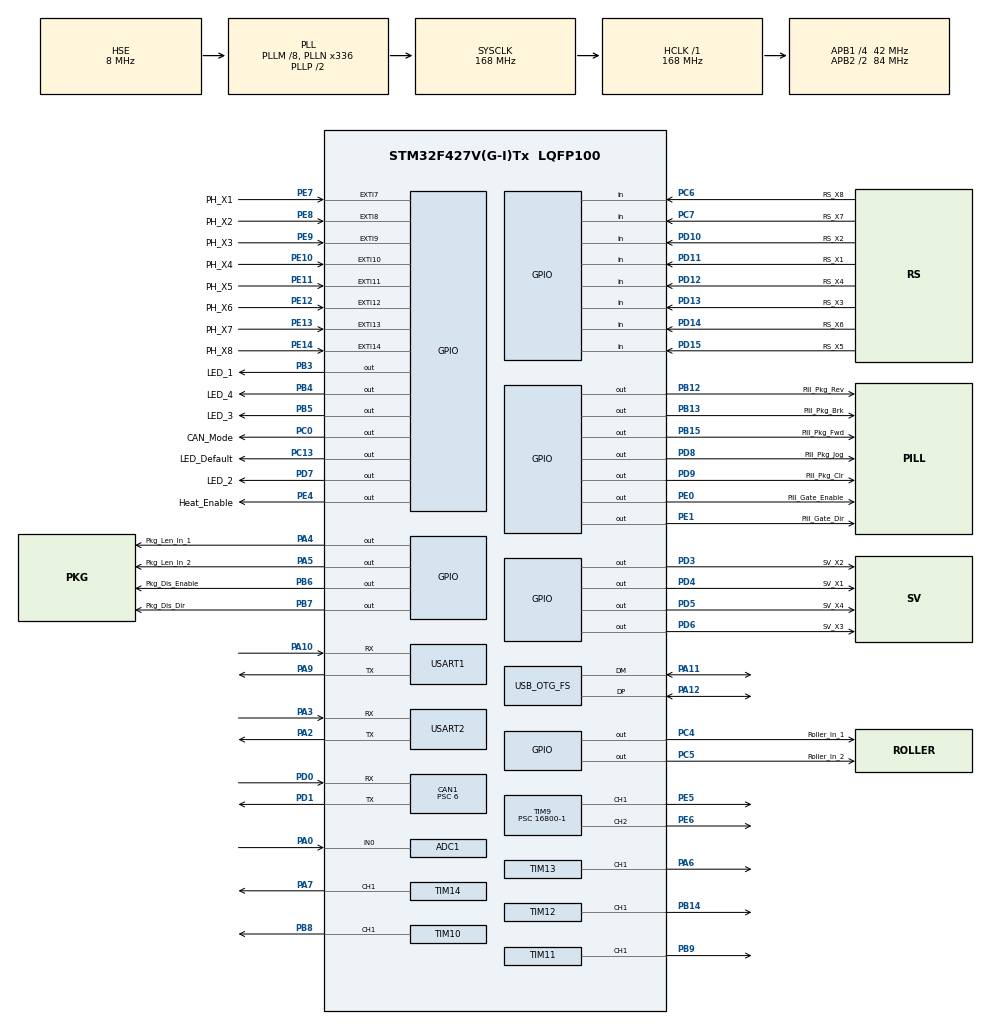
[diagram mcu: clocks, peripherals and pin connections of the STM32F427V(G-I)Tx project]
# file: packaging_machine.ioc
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ADC1.Channel-0\#ChannelRegularConversion=ADC_CHANNEL_0
ADC1.ClockPrescaler=ADC_CLOCK_SYNC_PCLK_DIV8
ADC1.ContinuousConvMode=ENABLE
ADC1.DMAContinuousRequests=ENABLE
ADC1.InjNumberOfConversion=0
ADC1.NbrOfConversionFlag=1
ADC1.Rank-0\#ChannelRegularConversion=1
ADC1.SamplingTime-0\#ChannelRegularConversion=ADC_SAMPLETIME_480CYCLES
ADC1.master=1
CAN1.BS1=CAN_BS1_11TQ
CAN1.BS2=CAN_BS2_2TQ
CAN1.CalculateBaudRate=500000
CAN1.CalculateTimeBit=2000
CAN1.CalculateTimeQuantum=142.85714285714286
CAN1.NART=ENABLE
CAN1.Prescaler=6
CAN1.TXFP=ENABLE
Dma.ADC1.0.Direction=DMA_PERIPH_TO_MEMORY
Dma.ADC1.0.FIFOMode=DMA_FIFOMODE_DISABLE
Dma.ADC1.0.Instance=DMA2_Stream0
Dma.ADC1.0.MemDataAlignment=DMA_MDATAALIGN_HALFWORD
Dma.ADC1.0.MemInc=DMA_MINC_ENABLE
Dma.ADC1.0.Mode=DMA_CIRCULAR
Dma.ADC1.0.PeriphDataAlignment=DMA_PDATAALIGN_HALFWORD
Dma.ADC1.0.PeriphInc=DMA_PINC_DISABLE
Dma.ADC1.0.Priority=DMA_PRIORITY_LOW
Dma.Request0=ADC1
IWDG.Prescaler=IWDG_PRESCALER_16
IWDG.Reload=2000-1
Mcu.Family=STM32F4
Mcu.Name=STM32F427V(G-I)Tx
Mcu.Package=LQFP100
NVIC.CAN1_RX0_IRQn=true\:0\:0\:false\:false\:true\:true\:true\:true
NVIC.CAN1_RX1_IRQn=true\:0\:0\:false\:false\:true\:true\:true\:true
NVIC.CAN1_TX_IRQn=true\:0\:0\:false\:false\:true\:true\:true\:true
NVIC.DMA2_Stream0_IRQn=true\:0\:0\:false\:false\:true\:false\:true\:true
NVIC.EXTI15_10_IRQn=true\:0\:0\:false\:false\:true\:true\:true\:true
NVIC.EXTI9_5_IRQn=true\:0\:0\:false\:false\:true\:true\:true\:true
NVIC.PriorityGroup=NVIC_PRIORITYGROUP_4
NVIC.TIM1_BRK_TIM9_IRQn=true\:0\:0\:false\:false\:true\:true\:true\:true
NVIC.TIM1_TRG_COM_TIM11_IRQn=true\:0\:0\:false\:false\:true\:true\:true\:true
NVIC.TIM1_UP_TIM10_IRQn=true\:0\:0\:false\:false\:true\:true\:true\:true
NVIC.TIM2_IRQn=true\:0\:0\:false\:false\:true\:true\:true\:true
NVIC.TIM4_IRQn=true\:0\:0\:false\:false\:true\:true\:true\:true
NVIC.TIM5_IRQn=true\:0\:0\:false\:false\:true\:true\:true\:true
NVIC.TIM7_IRQn=true\:0\:0\:false\:false\:true\:true\:true\:true
NVIC.TIM8_BRK_TIM12_IRQn=true\:0\:0\:false\:false\:true\:true\:true\:true
NVIC.TIM8_TRG_COM_TIM14_IRQn=true\:0\:0\:false\:false\:true\:true\:true\:true
NVIC.TIM8_UP_TIM13_IRQn=true\:0\:0\:false\:false\:true\:true\:true\:true
PA0/WKUP.Signal=ADCx_IN0
PA10.Mode=Asynchronous
PA10.Signal=USART1_RX
PA11.Mode=Host_Only
PA11.Signal=USB_OTG_FS_DM
PA12.Mode=Host_Only
PA12.Signal=USB_OTG_FS_DP
PA2.Mode=Asynchronous
PA2.Signal=USART2_TX
PA3.Mode=Asynchronous
PA3.Signal=USART2_RX
PA4.GPIO_Label=Pkg_Len_In_1
PA4.PinState=GPIO_PIN_SET
PA4.Signal=GPIO_Output
PA5.GPIO_Label=Pkg_Len_In_2
PA5.Signal=GPIO_Output
PA6.Signal=S_TIM13_CH1
PA7.Signal=S_TIM14_CH1
PA9.Mode=Asynchronous
PA9.Signal=USART1_TX
PB12.GPIO_Label=Pill_Pkg_Rev
PB12.Signal=GPIO_Output
PB13.GPIO_Label=Pill_Pkg_Brk
PB13.Signal=GPIO_Output
PB14.Signal=S_TIM12_CH1
PB15.GPIO_Label=Pill_Pkg_Fwd
PB15.Signal=GPIO_Output
PB3.GPIO_Label=LED_1
PB3.PinState=GPIO_PIN_SET
PB3.Signal=GPIO_Output
PB4.GPIO_Label=LED_4
PB4.PinState=GPIO_PIN_SET
PB4.Signal=GPIO_Output
PB5.GPIO_Label=LED_3
PB5.PinState=GPIO_PIN_SET
PB5.Signal=GPIO_Output
PB6.GPIO_Label=Pkg_Dis_Enable
PB6.PinState=GPIO_PIN_RESET
PB6.Signal=GPIO_Output
PB7.GPIO_Label=Pkg_Dis_Dir
PB7.PinState=GPIO_PIN_SET
PB7.Signal=GPIO_Output
PB8.Signal=S_TIM10_CH1
PB9.Signal=S_TIM11_CH1
PC0.GPIO_Label=CAN_Mode
PC0.Signal=GPIO_Output
PC13.GPIO_Label=LED_Default
PC13.Signal=GPIO_Output
PC14/OSC32_IN.Mode=LSE-External-Oscillator
PC14/OSC32_IN.Signal=RCC_OSC32_IN
PC15/OSC32_OUT.Mode=LSE-External-Oscillator
PC15/OSC32_OUT.Signal=RCC_OSC32_OUT
PC4.GPIO_Label=Roller_In_1
PC4.PinState=GPIO_PIN_SET
PC4.Signal=GPIO_Output
PC5.GPIO_Label=Roller_In_2
PC5.Signal=GPIO_Output
PC6.GPIO_Label=RS_X8
PC6.GPIO_PuPd=GPIO_PULLUP
PC6.Signal=GPIO_Input
PC7.GPIO_Label=RS_X7
PC7.GPIO_PuPd=GPIO_PULLUP
PC7.Signal=GPIO_Input
PD0.Mode=CAN_Activate
PD0.Signal=CAN1_RX
PD1.Mode=CAN_Activate
PD1.Signal=CAN1_TX
PD10.GPIO_Label=RS_X2
PD10.GPIO_PuPd=GPIO_PULLUP
PD10.Signal=GPIO_Input
PD11.GPIO_Label=RS_X1
PD11.GPIO_PuPd=GPIO_PULLUP
PD11.Signal=GPIO_Input
PD12.GPIO_Label=RS_X4
PD12.GPIO_PuPd=GPIO_PULLUP
PD12.Signal=GPIO_Input
PD13.GPIO_Label=RS_X3
PD13.GPIO_PuPd=GPIO_PULLUP
PD13.Signal=GPIO_Input
PD14.GPIO_Label=RS_X6
PD14.GPIO_PuPd=GPIO_PULLUP
PD14.Signal=GPIO_Input
PD15.GPIO_Label=RS_X5
PD15.GPIO_PuPd=GPIO_PULLUP
PD15.Signal=GPIO_Input
PD3.GPIO_Label=SV_X2
PD3.PinState=GPIO_PIN_SET
PD3.Signal=GPIO_Output
PD4.GPIO_Label=SV_X1
PD4.PinState=GPIO_PIN_SET
PD4.Signal=GPIO_Output
PD5.GPIO_Label=SV_X4
PD5.PinState=GPIO_PIN_SET
PD5.Signal=GPIO_Output
PD6.GPIO_Label=SV_X3
PD6.PinState=GPIO_PIN_SET
PD6.Signal=GPIO_Output
PD7.GPIO_Label=LED_2
PD7.PinState=GPIO_PIN_SET
PD7.Signal=GPIO_Output
PD8.GPIO_Label=Pill_Pkg_Jog
PD8.Signal=GPIO_Output
PD9.GPIO_Label=Pill_Pkg_Clr
PD9.Signal=GPIO_Output
PE0.GPIO_Label=Pill_Gate_Enable
PE0.PinState=GPIO_PIN_RESET
PE0.Signal=GPIO_Output
PE1.GPIO_Label=Pill_Gate_Dir
PE1.PinState=GPIO_PIN_SET
PE1.Signal=GPIO_Output
PE10.GPIO_Label=PH_X4
PE10.GPIO_ModeDefaultEXTI=GPIO_MODE_IT_FALLING
PE10.GPIO_PuPd=GPIO_PULLUP
PE10.Signal=GPXTI10
PE11.GPIO_Label=PH_X5
PE11.GPIO_ModeDefaultEXTI=GPIO_MODE_IT_FALLING
PE11.GPIO_PuPd=GPIO_PULLUP
PE11.Signal=GPXTI11
PE12.GPIO_Label=PH_X6
PE12.GPIO_ModeDefaultEXTI=GPIO_MODE_IT_FALLING
PE12.GPIO_PuPd=GPIO_PULLUP
PE12.Signal=GPXTI12
PE13.GPIO_Label=PH_X7
PE13.GPIO_ModeDefaultEXTI=GPIO_MODE_IT_FALLING
PE13.GPIO_PuPd=GPIO_PULLUP
PE13.Signal=GPXTI13
PE14.GPIO_Label=PH_X8
PE14.GPIO_ModeDefaultEXTI=GPIO_MODE_IT_FALLING
PE14.GPIO_PuPd=GPIO_PULLUP
PE14.Signal=GPXTI14
PE4.GPIO_Label=Heat_Enable
PE4.Signal=GPIO_Output
PE5.Signal=S_TIM9_CH1
PE6.Signal=S_TIM9_CH2
PE7.GPIO_Label=PH_X1
PE7.GPIO_ModeDefaultEXTI=GPIO_MODE_IT_RISING
PE7.GPIO_PuPd=GPIO_PULLUP
PE7.Signal=GPXTI7
PE8.GPIO_Label=PH_X2
PE8.GPIO_ModeDefaultEXTI=GPIO_MODE_IT_FALLING
PE8.GPIO_PuPd=GPIO_PULLUP
PE8.Signal=GPXTI8
PE9.GPIO_Label=PH_X3
PE9.GPIO_ModeDefaultEXTI=GPIO_MODE_IT_FALLING
PE9.GPIO_PuPd=GPIO_PULLUP
PE9.Signal=GPXTI9
PH0/OSC_IN.Mode=HSE-External-Oscillator
PH0/OSC_IN.Signal=RCC_OSC_IN
PH1/OSC_OUT.Mode=HSE-External-Oscillator
PH1/OSC_OUT.Signal=RCC_OSC_OUT
ProjectManager.HeapSize=0x200
ProjectManager.StackSize=0x400
ProjectManager.TargetToolchain=STM32CubeIDE
RCC.48MHZClocksFreq_Value=48000000
RCC.AHBFreq_Value=168000000
RCC.APB1CLKDivider=RCC_HCLK_DIV4
RCC.APB1Freq_Value=42000000
RCC.APB1TimFreq_Value=84000000
RCC.APB2CLKDivider=RCC_HCLK_DIV2
RCC.APB2Freq_Value=84000000
RCC.APB2TimFreq_Value=168000000
RCC.CortexFreq_Value=168000000
RCC.EnbaleCSS=true
RCC.HCLKFreq_Value=168000000
RCC.HSE_VALUE=8000000
RCC.HSI_VALUE=16000000
RCC.PLLM=8
RCC.PLLN=336
RCC.PLLQ=7
RCC.RCC_RTC_Clock_Source=RCC_RTCCLKSOURCE_LSE
RCC.RCC_RTC_Clock_SourceVirtual=RCC_RTCCLKSOURCE_LSE
RCC.SYSCLKFreq_VALUE=168000000
RCC.SYSCLKSource=RCC_SYSCLKSOURCE_PLLCLK
RCC.VCOOutputFreq_Value=336000000
SH.ADCx_IN0.0=ADC1_IN0,IN0
SH.S_TIM10_CH1.0=TIM10_CH1,PWM Generation1 CH1
SH.S_TIM11_CH1.0=TIM11_CH1,PWM Generation1 CH1
SH.S_TIM12_CH1.0=TIM12_CH1,PWM Generation1 CH1
SH.S_TIM13_CH1.0=TIM13_CH1,PWM Generation1 CH1
SH.S_TIM14_CH1.0=TIM14_CH1,PWM Generation1 CH1
SH.S_TIM9_CH1.0=TIM9_CH1,PWM Generation1 CH1
SH.S_TIM9_CH2.0=TIM9_CH2,PWM Generation2 CH2
TIM1.Period=1000-1
TIM1.Prescaler=168-1
TIM10.Channel=TIM_CHANNEL_1
TIM10.Period=100-1
TIM10.Prescaler=1050-1
TIM11.Channel=TIM_CHANNEL_1
TIM11.Period=100-1
TIM11.Prescaler=336-1
TIM12.Channel-PWM\ Generation1\ CH1=TIM_CHANNEL_1
TIM13.Channel=TIM_CHANNEL_1
TIM13.Period=100-1
TIM13.Prescaler=1680-1
TIM14.Channel=TIM_CHANNEL_1
TIM14.Period=100-1
TIM14.Prescaler=1680-1
TIM2.Period=100-1
TIM2.Prescaler=8400-1
TIM4.Period=5000-1
TIM4.Prescaler=8400-1
TIM5.Period=1000-1
TIM5.Prescaler=8400-1
TIM7.Period=100-1
TIM7.Prescaler=16800-1
TIM8.Period=200-1
TIM8.Prescaler=16800-1
TIM9.Channel-PWM\ Generation1\ CH1=TIM_CHANNEL_1
TIM9.Channel-PWM\ Generation2\ CH2=TIM_CHANNEL_2
TIM9.Period=5000-1
TIM9.Prescaler=16800-1
USART1.VirtualMode=VM_ASYNC
USART2.VirtualMode=VM_ASYNC
USB_OTG_FS.VirtualMode=Host_Only
USB_OTG_FS.phy_itface=HCD_PHY_EMBEDDED
VP_IWDG_VS_IWDG.Mode=IWDG_Activate
VP_TIM10_VS_ClockSourceINT.Mode=Enable_Timer
VP_TIM11_VS_ClockSourceINT.Mode=Enable_Timer
VP_TIM12_VS_ClockSourceINT.Mode=Internal
VP_TIM13_VS_ClockSourceINT.Mode=Enable_Timer
VP_TIM14_VS_ClockSourceINT.Mode=Enable_Timer
VP_TIM1_VS_ClockSourceINT.Mode=Internal
VP_TIM2_VS_ClockSourceINT.Mode=Internal
VP_TIM4_VS_ClockSourceINT.Mode=Internal
VP_TIM5_VS_ClockSourceINT.Mode=Internal
VP_TIM7_VS_ClockSourceINT.Mode=Enable_Timer
VP_TIM8_VS_ClockSourceINT.Mode=Internal
VP_TIM9_VS_ClockSourceINT.Mode=Internal
board=custom

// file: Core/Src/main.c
/* USER CODE BEGIN Header */
/**
 ******************************************************************************
 * @file           : main.c
 * @brief          : Main program body
 ******************************************************************************
 * @attention
 *
 * Copyright (c) 2024 STMicroelectronics.
 * All rights reserved.
 *
 * This software is licensed under terms that can be found in the LICENSE file
 * in the root directory of this software component.
 * If no LICENSE file comes with this software, it is provided AS-IS.
 *
 ******************************************************************************
 */
/* USER CODE END Header */
#include "main.h"
#include "adc.h"
#include "can.h"
#include "dma.h"
#include "iwdg.h"
#include "tim.h"
#include "usart.h"
#include "usb_otg.h"
#include "gpio.h"

/* USER CODE BEGIN Includes */

#include "CO_app_STM32.h"
#include "OD.h"

#include "pid.h"
#include "kalman_filter.h"

#include "motor_state.h"
#include "dc_motor_ctrl.h"
#include "pill_gate_motor.h"
#include "pkg_dis_motor.h"
#include "squeezer_motor.h"
#include "conveyor_motor.h"

/* USER CODE END Includes */

/* USER CODE BEGIN PD */

typedef struct {
	uint16_t pin;
	GPIO_TypeDef *port;
} PinConfig;

/* USER CODE END PD */

/* USER CODE BEGIN PV */

uint32_t running = 0;
CANopenNodeSTM32 canOpenNodeSTM32;

//const uint8_t main_node_id = 32;
//const uint8_t squ_node_id = 60;
//const uint8_t con_node_id = 61;

const uint8_t main_node_id = 33;
const uint8_t squ_node_id = 62;
const uint8_t con_node_id = 63;

uint16_t temperature_adc = 0;

PID_TypeDef TPID;
float temp = 0.0;
float PID_out = 0.0;
float temp_set_pt = 0.0;
const int32_t SAMPLE_TIME = 100;
const float LOW_LIMIT = 200.0f;
const float HIGH_LIMIT = 2000.0f;

const uint16_t SQU_FWD = 0x0001;
const uint16_t SQU_REV = 0x0002;
const uint16_t SQU_STOP = 0x0006;
const uint16_t SQU_RESET = 0x0007;

const uint16_t CON_FWD = 0x0001;
const uint16_t CON_REV = 0x0002;
const uint16_t CON_STOP = 0x0006;
const uint16_t CON_RESET = 0x0007;

const uint16_t valve_start_index = 0x6054;
const uint16_t RS_start_index = 0x6060;
const uint16_t PH_start_index = 0x6090;

const uint8_t MAX_SDO_RETIES = 5;

const PinConfig PH_state_pins[] = {
    {PH_X1_Pin, PH_X1_GPIO_Port},
    {PH_X2_Pin, PH_X2_GPIO_Port},
    {PH_X3_Pin, PH_X3_GPIO_Port},
    {PH_X4_Pin, PH_X4_GPIO_Port},
	{PH_X5_Pin, PH_X5_GPIO_Port},
	{PH_X6_Pin, PH_X6_GPIO_Port},
	{PH_X7_Pin, PH_X7_GPIO_Port},
	{PH_X8_Pin, PH_X8_GPIO_Port},
};

const PinConfig RS_state_pins[] = {
    {RS_X1_Pin, RS_X1_GPIO_Port},
    {RS_X2_Pin, RS_X2_GPIO_Port},
    {RS_X3_Pin, RS_X3_GPIO_Port},
    {RS_X4_Pin, RS_X4_GPIO_Port},
    {RS_X5_Pin, RS_X5_GPIO_Port},
    {RS_X6_Pin, RS_X6_GPIO_Port},
    {RS_X7_Pin, RS_X7_GPIO_Port},
    {RS_X8_Pin, RS_X8_GPIO_Port}
};

const PinConfig valve_state_pins[] = {
    {SV_X1_Pin, SV_X1_GPIO_Port},
    {SV_X2_Pin, SV_X2_GPIO_Port},
    {SV_X3_Pin, SV_X3_GPIO_Port},
    {SV_X4_Pin, SV_X4_GPIO_Port},
};

/* USER CODE END PV */

void SystemClock_Config(void);

/* USER CODE BEGIN 0 */

CO_SDO_abortCode_t
read_SDO(CO_SDOclient_t* SDO_C, uint8_t nodeId, uint16_t index, uint8_t subIndex, uint8_t* buf, size_t bufSize,
         size_t* readSize) {
    CO_SDO_return_t SDO_ret;

    // setup client (this can be skipped, if remote device don't change)
    SDO_ret = CO_SDOclient_setup(SDO_C, CO_CAN_ID_SDO_CLI + nodeId, CO_CAN_ID_SDO_SRV + nodeId, nodeId);
    if (SDO_ret != CO_SDO_RT_ok_communicationEnd) {
        return CO_SDO_AB_GENERAL;
    }

    // initiate upload
    SDO_ret = CO_SDOclientUploadInitiate(SDO_C, index, subIndex, 1000, false);
    if (SDO_ret != CO_SDO_RT_ok_communicationEnd) {
        return CO_SDO_AB_GENERAL;
    }

	// upload data
	do {
		uint32_t timeDifference_us = 10000;
		CO_SDO_abortCode_t abortCode = CO_SDO_AB_NONE;

		SDO_ret = CO_SDOclientUpload(SDO_C, timeDifference_us, false, &abortCode, NULL, NULL, NULL);
		if (SDO_ret < 0) {
			return abortCode;
		}

//        sleep_us(timeDifference_us);
		delay_ms(timeDifference_us / 1000);
	} while (SDO_ret > 0);

	// copy data to the user buffer (for long data function must be called several times inside the loop)
	*readSize = CO_SDOclientUploadBufRead(SDO_C, buf, bufSize);

    return CO_SDO_AB_NONE;
}

CO_SDO_abortCode_t
write_SDO(CO_SDOclient_t* SDO_C, uint8_t nodeId, uint16_t index, uint8_t subIndex, uint8_t* data, size_t dataSize) {
    CO_SDO_return_t SDO_ret;
    bool_t bufferPartial = false;

    // setup client (this can be skipped, if remote device is the same)
    SDO_ret = CO_SDOclient_setup(SDO_C, CO_CAN_ID_SDO_CLI + nodeId, CO_CAN_ID_SDO_SRV + nodeId, nodeId);
    if (SDO_ret != CO_SDO_RT_ok_communicationEnd) {
        return -1;
    }

    // initiate download
    SDO_ret = CO_SDOclientDownloadInitiate(SDO_C, index, subIndex, dataSize, 1000, false);
    if (SDO_ret != CO_SDO_RT_ok_communicationEnd) {
        return -1;
    }

    // fill data
    size_t nWritten = CO_SDOclientDownloadBufWrite(SDO_C, data, dataSize);
    if (nWritten < dataSize) {
        bufferPartial = true;
        // If SDO Fifo buffer is too small, data can be refilled in the loop.
    }

	// download data
	do {
		uint32_t timeDifference_us = 10000;
		CO_SDO_abortCode_t abortCode = CO_SDO_AB_NONE;

		SDO_ret = CO_SDOclientDownload(SDO_C, timeDifference_us, false, bufferPartial, &abortCode, NULL, NULL);
		if (SDO_ret < 0) {
			return abortCode;
		}

//        sleep_us(timeDifference_us);
		delay_ms(timeDifference_us / 1000);
	} while (SDO_ret > 0);

    return CO_SDO_AB_NONE;
}

/* USER CODE END 0 */

int main(void)
{

  /* MCU Configuration--------------------------------------------------------*/

  /* Reset of all peripherals, Initializes the Flash interface and the Systick. */
  HAL_Init();

  /* Configure the system clock */
  SystemClock_Config();

  /* Initialize all configured peripherals */
  MX_GPIO_Init();
  MX_DMA_Init();
  MX_IWDG_Init();
  MX_ADC1_Init();
  MX_CAN1_Init();
  MX_TIM10_Init();
  MX_TIM11_Init();
  MX_TIM12_Init();
  MX_TIM13_Init();
  MX_TIM14_Init();
  MX_USART1_UART_Init();
  MX_TIM9_Init();
  MX_USART2_UART_Init();
  MX_USB_OTG_FS_HCD_Init();
  MX_TIM5_Init();
  MX_TIM1_Init();
  MX_TIM4_Init();
  MX_TIM2_Init();
  MX_TIM8_Init();
  MX_TIM7_Init();
  /* USER CODE BEGIN 2 */

  HAL_TIM_Base_Start_IT(&htim4);	// start to refresh the watchdog

  for (uint8_t i = 0; i < 10; i++) {
	  HAL_GPIO_TogglePin(LED_4_GPIO_Port, LED_4_Pin);
	  HAL_Delay(500);
  }

//	CANopenNodeSTM32 canOpenNodeSTM32;
	canOpenNodeSTM32.CANHandle = &hcan1;
	canOpenNodeSTM32.HWInitFunction = MX_CAN1_Init;
	canOpenNodeSTM32.timerHandle = &htim1;
	canOpenNodeSTM32.desiredNodeID = main_node_id;
	canOpenNodeSTM32.baudrate = 500;
	canopen_app_init(&canOpenNodeSTM32);

	HAL_ADC_Start_DMA(&hadc1, (uint32_t*) &temperature_adc, 1);

	set_pid_config();

	HAL_TIM_Base_Start_IT(&htim2);	// valve control
	HAL_TIM_Base_Start_IT(&htim5);	// temperature control
	HAL_TIM_Base_Start_IT(&htim7);  // conveyor motor
	HAL_TIM_Base_Start_IT(&htim8);  // squeezer motor

	HAL_TIM_Base_Start_IT(&htim9);  // heater
	HAL_TIM_PWM_Start(&htim9, TIM_CHANNEL_1);
	HAL_TIM_PWM_Start(&htim9, TIM_CHANNEL_2);
	__HAL_TIM_SET_COMPARE(&htim9, TIM_CHANNEL_1, 0);
	__HAL_TIM_SET_COMPARE(&htim9, TIM_CHANNEL_2, 0);

	HAL_TIM_Base_Start_IT(&htim10);  // package dispenser motor
	HAL_TIM_PWM_Start(&htim10, TIM_CHANNEL_1);
	__HAL_TIM_SET_COMPARE(&htim10, TIM_CHANNEL_1, 0);

	HAL_TIM_Base_Start_IT(&htim11);  // pill gate motor
	HAL_TIM_PWM_Start(&htim11, TIM_CHANNEL_1);
	__HAL_TIM_SET_COMPARE(&htim11, TIM_CHANNEL_1, 0);

	HAL_TIM_Base_Start_IT(&htim13);
	HAL_TIM_PWM_Start(&htim13, TIM_CHANNEL_1);  // package length motor
	__HAL_TIM_SET_COMPARE(&htim13, TIM_CHANNEL_1, 0);

	HAL_TIM_Base_Start_IT(&htim14);
	HAL_TIM_PWM_Start(&htim14, TIM_CHANNEL_1);  // roller motor
	__HAL_TIM_SET_COMPARE(&htim14, TIM_CHANNEL_1, 0);

	init_pill_gate_loc();
	init_sq_loc();
	init_pkg_len_loc();

  /* USER CODE END 2 */

  /* Infinite loop */
  /* USER CODE BEGIN WHILE */
	while (1) {
		HAL_GPIO_WritePin(LED_1_GPIO_Port, LED_1_Pin, !canOpenNodeSTM32.outStatusLEDGreen);
		HAL_GPIO_WritePin(LED_2_GPIO_Port, LED_2_Pin, !canOpenNodeSTM32.outStatusLEDRed);
		canopen_app_process();

		//HAL_Delay(1);
    /* USER CODE END WHILE */

	}
}

void SystemClock_Config(void)
{
  RCC_OscInitTypeDef RCC_OscInitStruct = {0};
  RCC_ClkInitTypeDef RCC_ClkInitStruct = {0};

  /** Configure the main internal regulator output voltage
  */
  __HAL_RCC_PWR_CLK_ENABLE();
  __HAL_PWR_VOLTAGESCALING_CONFIG(PWR_REGULATOR_VOLTAGE_SCALE1);

  /** Initializes the RCC Oscillators according to the specified parameters
  * in the RCC_OscInitTypeDef structure.
  */
  RCC_OscInitStruct.OscillatorType = RCC_OSCILLATORTYPE_LSI|RCC_OSCILLATORTYPE_HSE;
  RCC_OscInitStruct.HSEState = RCC_HSE_ON;
  RCC_OscInitStruct.LSIState = RCC_LSI_ON;
  RCC_OscInitStruct.PLL.PLLState = RCC_PLL_ON;
  RCC_OscInitStruct.PLL.PLLSource = RCC_PLLSOURCE_HSE;
  RCC_OscInitStruct.PLL.PLLM = 8;
  RCC_OscInitStruct.PLL.PLLN = 336;
  RCC_OscInitStruct.PLL.PLLP = RCC_PLLP_DIV2;
  RCC_OscInitStruct.PLL.PLLQ = 7;
  if (HAL_RCC_OscConfig(&RCC_OscInitStruct) != HAL_OK)
  {
    Error_Handler();
  }

  /** Initializes the CPU, AHB and APB buses clocks
  */
  RCC_ClkInitStruct.ClockType = RCC_CLOCKTYPE_HCLK|RCC_CLOCKTYPE_SYSCLK
                              |RCC_CLOCKTYPE_PCLK1|RCC_CLOCKTYPE_PCLK2;
  RCC_ClkInitStruct.SYSCLKSource = RCC_SYSCLKSOURCE_PLLCLK;
  RCC_ClkInitStruct.AHBCLKDivider = RCC_SYSCLK_DIV1;
  RCC_ClkInitStruct.APB1CLKDivider = RCC_HCLK_DIV4;
  RCC_ClkInitStruct.APB2CLKDivider = RCC_HCLK_DIV2;

  if (HAL_RCC_ClockConfig(&RCC_ClkInitStruct, FLASH_LATENCY_5) != HAL_OK)
  {
    Error_Handler();
  }

  /** Enables the Clock Security System
  */
  HAL_RCC_EnableCSS();
}

/* USER CODE BEGIN 4 */

void HAL_TIM_PeriodElapsedCallback(TIM_HandleTypeDef *htim) {
	// TODO: control the specific action
	if (htim == canopenNodeSTM32->timerHandle) {
		htim1_cb();
	} else if (htim == (&htim2)) {
		htim2_cb();
	} else if (htim == (&htim4)) {
		htim4_cb();
	} else if (htim == (&htim5)) {
		htim5_cb();
	} else if (htim == (&htim7)) {
		htim7_cb();
	} else if (htim == (&htim8)) {
		htim8_cb();
	} else if (htim == (&htim9)) {
		htim9_cb();
	} else if (htim == (&htim10)) {
		htim10_cb();
	} else if (htim == (&htim11)) {
		htim11_cb();
	} else if (htim == (&htim12)) {
		htim12_cb();
	} else if (htim == (&htim13)) {
		htim13_cb();
	} else if (htim == (&htim14)) {
		htim14_cb();
	}
}

void HAL_GPIO_EXTI_Callback(uint16_t GPIO_Pin) {
	HAL_GPIO_TogglePin(LED_3_GPIO_Port, LED_3_Pin);
	// TODO: stop the specific action
	switch (GPIO_Pin) {
	case PH_X1_Pin:
		exti1_cb();
		break;
	case PH_X2_Pin:
		exti2_cb();
		break;
	case PH_X3_Pin:
		exti3_cb();
		break;
	case PH_X4_Pin:
		exti4_cb();
		break;
	case PH_X5_Pin:
		exti5_cb();
		break;
	case PH_X6_Pin:
		exti6_cb();
		break;
	case PH_X7_Pin:
		exti7_cb();
		break;
	case PH_X8_Pin:
		exti8_cb();
		break;
	}
}

void htim1_cb(void) {
	canopen_app_interrupt();
}

void htim2_cb(void) {
	control_valve(0x6050, SV_X1_GPIO_Port, SV_X1_Pin);
	control_valve(0x6051, SV_X2_GPIO_Port, SV_X2_Pin);
	control_valve(0x6052, SV_X3_GPIO_Port, SV_X3_Pin);
	control_valve(0x6053, SV_X4_GPIO_Port, SV_X4_Pin);

	uint8_t Valve_pin_states = 0;

	for (size_t i = 0; i < sizeof(valve_state_pins) / sizeof(valve_state_pins[0]); i++) {
		GPIO_PinState result = !HAL_GPIO_ReadPin(valve_state_pins[i].port, valve_state_pins[i].pin);

		if (OD_set_u8(OD_find(OD, valve_start_index + i), 0x00, (uint8_t) result, false) != ODR_OK)
			show_err_LED();

		Valve_pin_states |= (result << i);
	}

	if (OD_set_u8(OD_find(OD, 0x6058), 0x00, (uint8_t) Valve_pin_states, false) != ODR_OK)
		show_err_LED();

	uint8_t RS_pin_states = 0;

	for (size_t i = 0; i < sizeof(RS_state_pins) / sizeof(RS_state_pins[0]); i++) {
		GPIO_PinState result = !HAL_GPIO_ReadPin(RS_state_pins[i].port, RS_state_pins[i].pin);

		if (OD_set_u8(OD_find(OD, RS_start_index + i), 0x00, (uint8_t) result, false) != ODR_OK)
			show_err_LED();

		RS_pin_states |= (result << i);
	}

	if (OD_set_u8(OD_find(OD, 0x6068), 0x00, (uint8_t) RS_pin_states, false) != ODR_OK)
		show_err_LED();

	uint16_t PH_pin_states = 0;
	for (size_t i = 0; i < sizeof(PH_state_pins) / sizeof(PH_state_pins[0]); i++) {
		GPIO_PinState result = !HAL_GPIO_ReadPin(PH_state_pins[i].port, PH_state_pins[i].pin);

		PH_pin_states |= (result << i);
	}

	if (OD_set_u16(OD_find(OD, 0x6090), 0x00, (uint16_t) PH_pin_states, false) != ODR_OK)
		show_err_LED();
}

void htim3_cb(void) {

}

void htim4_cb(void) {
	HAL_GPIO_TogglePin(LED_Default_GPIO_Port, LED_Default_Pin);
	HAL_IWDG_Refresh(&hiwdg);
	running++;
}

void htim5_cb(void) {
	uint16_t adc_sample;
	uint8_t enable_heater, enable_kalman;

	adc_sample = temperature_adc;

	if (OD_get_u8(OD_find(OD, 0x6007), 0x00, &enable_kalman, false) != ODR_OK)
		show_err_LED();

	if (enable_kalman)
		temp = get_temperature(kalman_filter(adc_sample));
	else
		temp = get_temperature(adc_sample);

	if (OD_set_u16(OD_find(OD, 0x6001), 0x00, (uint16_t) temp, false) != ODR_OK)
		show_err_LED();

	if (OD_set_u16(OD_find(OD, 0x6002), 0x00, adc_sample, false) != ODR_OK)
		show_err_LED();

	enable_heater = 0;
	if (OD_get_u8(OD_find(OD, 0x6003), 0x00, &enable_heater, false) != ODR_OK)
		show_err_LED();

	HAL_GPIO_WritePin(Heat_Enable_GPIO_Port, Heat_Enable_Pin, !enable_heater);

	if (enable_heater) {
		PID_Compute(&TPID);
		__HAL_TIM_SET_COMPARE(&htim9, TIM_CHANNEL_1, (uint16_t ) PID_out);
		__HAL_TIM_SET_COMPARE(&htim9, TIM_CHANNEL_2, (uint16_t ) PID_out);
		if (OD_set_u16(OD_find(OD, 0x6008), 0x00, (uint16_t) PID_out, false) != ODR_OK)
			show_err_LED();
	}
}

void htim6_cb(void) {

}

void htim7_cb(void) {
	motor_state_t _state = M_ERROR;
	uint8_t _dir, _ctrl;
	uint16_t _speed;
	bool_t _start_flag = 0;
	CO_SDO_abortCode_t ret_code;

	_state = get_od_con_state(OD, 0);

	switch (_state) {
	case M_IDLE:
		_ctrl = get_od_con_ctrl(OD, 0);
		_speed = get_od_con_speed(OD, 0);
		_start_flag = _ctrl > 0 && _speed > 0;

		if (_start_flag) {
			ret_code = write_SDO(canOpenNodeSTM32.canOpenStack->SDOclient, con_node_id, 0x2000, 0x1, (uint8_t*) &CON_RESET, 2);
			if (ret_code != CO_SDO_AB_NONE)
				show_err_LED();
			delay_ms(10);
			ret_code = write_SDO(canOpenNodeSTM32.canOpenStack->SDOclient, con_node_id, 0x2000, 0x2, (uint8_t*) &_speed, 2);
			if (ret_code != CO_SDO_AB_NONE)
				show_err_LED();
			delay_ms(10);
			set_od_con_state(OD, 0, M_RUNNING);
			_dir = get_od_con_dir(OD, 0);
			if (_dir == 0) {
				ret_code = write_SDO(canOpenNodeSTM32.canOpenStack->SDOclient, con_node_id, 0x2000, 0x1, (uint8_t*) &CON_FWD, 2);
				if (ret_code != CO_SDO_AB_NONE)
					show_err_LED();
			} else {
				ret_code = write_SDO(canOpenNodeSTM32.canOpenStack->SDOclient, con_node_id, 0x2000, 0x1, (uint8_t*) &CON_REV, 2);
				if (ret_code != CO_SDO_AB_NONE)
					show_err_LED();
			}
		}
		break;
	case M_RUNNING:
		_ctrl = get_od_con_ctrl(OD, 0);

		if (_ctrl == 0) {
			set_od_con_state(OD, 0, M_STOP);
		}
		break;
	case M_STOP:
		ret_code = write_SDO(canOpenNodeSTM32.canOpenStack->SDOclient, con_node_id, 0x2000, 0x1, (uint8_t*) &CON_STOP, 2);
		if (ret_code != CO_SDO_AB_NONE)
			show_err_LED();
		set_od_con_state(OD, 0, M_RESET);
		break;
	case M_RESET:
		set_od_con_mode(OD, 0, 0);
		set_od_con_dir(OD, 0, 0);
		set_od_con_ctrl(OD, 0, 0);
		set_od_con_state(OD, 0, M_IDLE);
		break;
	case M_ERROR:
		_ctrl = get_od_con_ctrl(OD, 0);

		if (_ctrl == 0) {
			set_od_con_state(OD, 0, M_STOP);
		}
		show_err_LED();
		break;
	default:
		break;
	}
}

void htim8_cb(void) {
	motor_state_t _state = M_ERROR;
	uint8_t _dir, _ctrl, _loc;
	uint16_t _speed;
	bool_t _start_flag = 0;
	CO_SDO_abortCode_t ret_code;
	_state = get_od_sq_state(OD, 0);

	switch (_state) {
	case M_IDLE:
		_ctrl = get_od_sq_ctrl(OD, 0);
		_speed = get_od_sq_speed(OD, 0);
		_start_flag = _ctrl > 0 && _speed > 0;

		if (_start_flag) {
			ret_code = write_SDO(canOpenNodeSTM32.canOpenStack->SDOclient, squ_node_id, 0x2000, 0x1, (uint8_t*) &SQU_RESET, 2);
			if (ret_code != CO_SDO_AB_NONE)
				show_err_LED();
			delay_ms(10);
			ret_code = write_SDO(canOpenNodeSTM32.canOpenStack->SDOclient, squ_node_id, 0x2000, 0x2, (uint8_t*) &_speed, 2);
			if (ret_code != CO_SDO_AB_NONE)
				show_err_LED();
			delay_ms(10);
			_dir = get_od_sq_dir(OD, 0);
			_loc = get_od_sq_loc(OD, 0);

			if (_dir == 0 && _loc == SQUEEZE_HOME_PT) {
				set_od_sq_state(OD, 0, M_RUNNING);
				ret_code = write_SDO(canOpenNodeSTM32.canOpenStack->SDOclient, squ_node_id, 0x2000, 0x1, (uint8_t*) &SQU_FWD, 2);
				if (ret_code != CO_SDO_AB_NONE)
					show_err_LED();
			} else if (_dir == 1 && _loc == SQUEEZE_PT) {
				set_od_sq_state(OD, 0, M_RUNNING);
				ret_code = write_SDO(canOpenNodeSTM32.canOpenStack->SDOclient, squ_node_id, 0x2000, 0x1, (uint8_t*) &SQU_REV, 2);
				if (ret_code != CO_SDO_AB_NONE)
					show_err_LED();
			} else {
				set_od_sq_state(OD, 0, M_RESET);
			}
		}
		break;
	case M_RUNNING:
		_ctrl = get_od_sq_ctrl(OD, 0);

		if (_ctrl == 0) {
			set_od_sq_state(OD, 0, M_STOP);
		}
		break;
	case M_BRAKE: {
		uint8_t _wait_time = get_od_sq_wait_time(OD, 0);
		_wait_time--;

		if (_wait_time == 0)
			set_od_sq_state(OD, 0, M_STOP);
		else
			set_od_sq_wait_time(OD, 0, _wait_time);
		break;
	}
	case M_STOP:
		ret_code = write_SDO(canOpenNodeSTM32.canOpenStack->SDOclient, squ_node_id, 0x2000, 0x1, (uint8_t*) &SQU_STOP, 2);
		if (ret_code != CO_SDO_AB_NONE)
			show_err_LED();
		set_od_sq_state(OD, 0, M_RESET);
		break;
	case M_RESET:
		set_od_sq_wait_time(OD, 0, 10);
		set_od_sq_mode(OD, 0, 0);
		set_od_sq_dir(OD, 0, 0);
		set_od_sq_ctrl(OD, 0, 0);
		set_od_sq_state(OD, 0, M_IDLE);
		break;
	case M_ERROR:
		_ctrl = get_od_sq_ctrl(OD, 0);

		if (_ctrl == 0) {
			set_od_sq_state(OD, 0, M_STOP);
		}
		show_err_LED();
		break;
	default:
		show_err_LED();
		break;
	}
}

void htim9_cb(void) {

}

void htim10_cb(void) {
	motor_state_t _state = M_ERROR;
	uint8_t _dir = 0;
	bool_t _start_flag = 0;

	_state = get_od_pkg_dis_state(OD, 0);
	switch (_state) {
	case M_IDLE: {
		uint8_t ctrl, rotate_pulses;

		ctrl = get_od_pkg_dis_ctrl(OD, 0);
		rotate_pulses = get_od_pkg_dis_rotate_pulses(OD, 0);

		_start_flag = ctrl > 0 && rotate_pulses > 0;
		if (_start_flag) {
			_dir = get_od_pkg_dis_rotate_dir(OD, 0);

			HAL_GPIO_WritePin(Pkg_Dis_Enable_GPIO_Port, Pkg_Dis_Enable_Pin, GPIO_PIN_SET);
			HAL_GPIO_WritePin(Pkg_Dis_Dir_GPIO_Port, Pkg_Dis_Dir_Pin, _dir == 0 ? GPIO_PIN_RESET : GPIO_PIN_SET);
			__HAL_TIM_SET_COMPARE(&htim10, TIM_CHANNEL_1, 50);

			set_od_pkg_dis_state(OD, 0, M_RUNNING);
		}
		break;
	}
	case M_RUNNING: {
		uint16_t curr_pulses, rotate_pulses;

		curr_pulses = get_od_pkg_dis_curr_pulses(OD, 0);
		set_od_pkg_dis_curr_pulses(OD, 0, ++curr_pulses);

		rotate_pulses = get_od_pkg_dis_rotate_pulses(OD, 0);

		if (curr_pulses >= rotate_pulses)
			set_od_pkg_dis_state(OD, 0, M_STOP);

		break;
	}
	case M_BRAKE: {
		// stepper motor do not have brake
		set_od_pkg_dis_state(OD, 0, M_STOP);
		break;
	}
	case M_STOP: {
		HAL_GPIO_WritePin(Pkg_Dis_Enable_GPIO_Port, Pkg_Dis_Enable_Pin, GPIO_PIN_RESET);
		__HAL_TIM_SET_COMPARE(&htim10, TIM_CHANNEL_1, 0);

		set_od_pkg_dis_state(OD, 0, M_RESET);
		break;
	}
	case M_RESET: {
		set_od_pkg_dis_rotate_pulses(OD, 0, 0);
		set_od_pkg_dis_curr_pulses(OD, 0, 0);
		set_od_pkg_dis_rotate_dir(OD, 0, 0);
		set_od_pkg_dis_ctrl(OD, 0, 0);
		set_od_pkg_dis_state(OD, 0, M_IDLE);
		break;
	}
	case M_ERROR:
		HAL_GPIO_WritePin(Pkg_Dis_Enable_GPIO_Port, Pkg_Dis_Enable_Pin, GPIO_PIN_RESET);
		show_err_LED();
		break;
	default:
		break;
	}
}

void htim11_cb(void) {
	motor_state_t _state = M_ERROR;
	uint8_t _dir = 0;
	bool_t _start_flag = 0;

	_state = get_od_pill_gate_state(OD, 0);

	switch (_state) {
	case M_IDLE:
		uint8_t ctrl, rotate_pulses;

		ctrl = get_od_pill_gate_ctrl(OD, 0);
		rotate_pulses = get_od_pill_gate_rotate_pulses(OD, 0);

		_start_flag = ctrl > 0 && rotate_pulses > 0;
		if (_start_flag) {
			uint8_t _loc = get_od_pill_gate_loc(OD, 0);
			_dir = get_od_pill_gate_rotate_dir(OD, 0);

			if (_dir == 1) {
				if (_loc >= PILL_GATE_PT_0 && _loc <= PILL_GATE_PT_3) {
					set_od_pill_gate_state(OD, 0, M_RUNNING);
					set_od_pill_gate_loc(OD, 0, ++_loc);

					HAL_GPIO_WritePin(Pill_Gate_Enable_GPIO_Port, Pill_Gate_Enable_Pin, GPIO_PIN_SET);
					HAL_GPIO_WritePin(Pill_Gate_Dir_GPIO_Port, Pill_Gate_Dir_Pin, get_open_dir(1));

					__HAL_TIM_SET_COMPARE(&htim11, TIM_CHANNEL_1, 20);
				} else {
					set_od_pill_gate_state(OD, 0, M_RESET);
				}
			} else {
				if (_loc >= PILL_GATE_PT_1 && _loc <= PILL_GATE_PT_4) {
					set_od_pill_gate_state(OD, 0, M_RUNNING);
					set_od_pill_gate_loc(OD, 0, --_loc);

					HAL_GPIO_WritePin(Pill_Gate_Enable_GPIO_Port, Pill_Gate_Enable_Pin, GPIO_PIN_SET);
					HAL_GPIO_WritePin(Pill_Gate_Dir_GPIO_Port, Pill_Gate_Dir_Pin, get_open_dir(0));

					__HAL_TIM_SET_COMPARE(&htim11, TIM_CHANNEL_1, 20);
				} else {
					set_od_pill_gate_state(OD, 0, M_RESET);
				}
			}
		}
		break;
	case M_RUNNING: {
		uint16_t curr_pulses, rotate_pulses;

		curr_pulses = get_od_pill_gate_curr_pulses(OD, 0);
		set_od_pill_gate_curr_pulses(OD, 0, ++curr_pulses);

		rotate_pulses = get_od_pill_gate_rotate_pulses(OD, 0);

		if (curr_pulses >= rotate_pulses)
			set_od_pill_gate_state(OD, 0, M_STOP);

		break;
	}
	case M_BRAKE: {
		// stepper motor do not have brake
		set_od_pill_gate_state(OD, 0, M_STOP);
		break;
	}
	case M_STOP: {
		HAL_GPIO_WritePin(Pill_Gate_Enable_GPIO_Port, Pill_Gate_Enable_Pin, GPIO_PIN_RESET);
		__HAL_TIM_SET_COMPARE(&htim11, TIM_CHANNEL_1, 0);
		set_od_pill_gate_state(OD, 0, M_RESET);
		break;
	}
	case M_RESET: {
		set_od_pill_gate_rotate_pulses(OD, 0, 0);
		set_od_pill_gate_curr_pulses(OD, 0, 0);
		set_od_pill_gate_rotate_dir(OD, 0, 0);
		set_od_pill_gate_ctrl(OD, 0, 0);
		set_od_pill_gate_state(OD, 0, M_IDLE);
		break;
	}
	case M_ERROR: {
		HAL_GPIO_WritePin(Pill_Gate_Enable_GPIO_Port, Pill_Gate_Enable_Pin, GPIO_PIN_RESET);
		show_err_LED();
		break;
	}
	default:
		break;
	}
}

void htim12_cb(void) {

}

void htim13_cb(void) {
	motor_state_t _state = M_ERROR;
	uint8_t _dir = 0;
	bool_t _start_flag = 0;

	dc_motor_controller(PKG_LEN_DC, OD, &_state, &_dir, &_start_flag);

	switch (_state) {
	case M_IDLE:
		if (_start_flag) {
			uint8_t _loc = get_od_pkg_len_loc(OD, 0);
			if (_dir == 1) {
				if (_loc == PKG_LEN_PT_0) {
					HAL_GPIO_WritePin(Pkg_Len_In_1_GPIO_Port, Pkg_Len_In_1_Pin, SET);
					HAL_GPIO_WritePin(Pkg_Len_In_2_GPIO_Port, Pkg_Len_In_2_Pin, RESET);
					__HAL_TIM_SET_COMPARE(&htim13, TIM_CHANNEL_1, 15);
				} else {
					set_od_pkg_len_state(OD, 0, M_BRAKE);
				}
			} else {
				if (_loc == PKG_LEN_PT_1) {
					HAL_GPIO_WritePin(Pkg_Len_In_1_GPIO_Port, Pkg_Len_In_1_Pin, RESET);
					HAL_GPIO_WritePin(Pkg_Len_In_2_GPIO_Port, Pkg_Len_In_2_Pin, SET);
					__HAL_TIM_SET_COMPARE(&htim13, TIM_CHANNEL_1, 20);
				} else {
					set_od_pkg_len_state(OD, 0, M_BRAKE);
				}
			}
		}
		break;
	case M_BRAKE:
		HAL_GPIO_WritePin(Pkg_Len_In_1_GPIO_Port, Pkg_Len_In_1_Pin, RESET);
		HAL_GPIO_WritePin(Pkg_Len_In_2_GPIO_Port, Pkg_Len_In_2_Pin, RESET);
		break;
	case M_STOP:
		__HAL_TIM_SET_COMPARE(&htim13, TIM_CHANNEL_1, 0);
		break;
	case M_ERROR:
		show_err_LED();
		break;
	default:
		break;
	}
}

void htim14_cb(void) {
	motor_state_t _state = M_ERROR;
	uint8_t _dir = 0;
	bool_t _start_flag = 0;

	dc_motor_controller(ROLLER_DC, OD, &_state, &_dir, &_start_flag);

	switch (_state) {
	case M_IDLE:
		if (_start_flag) {
			if (_dir == 0) {
				HAL_GPIO_WritePin(Roller_In_1_GPIO_Port, Roller_In_1_Pin, SET);
				HAL_GPIO_WritePin(Roller_In_2_GPIO_Port, Roller_In_2_Pin, RESET);
			} else {
				HAL_GPIO_WritePin(Roller_In_1_GPIO_Port, Roller_In_1_Pin, RESET);
				HAL_GPIO_WritePin(Roller_In_2_GPIO_Port, Roller_In_2_Pin, SET);
			}
			__HAL_TIM_SET_COMPARE(&htim14, TIM_CHANNEL_1, 100);
		}
		break;
	case M_BRAKE:
		HAL_GPIO_WritePin(Roller_In_1_GPIO_Port, Roller_In_1_Pin, RESET);
		HAL_GPIO_WritePin(Roller_In_2_GPIO_Port, Roller_In_2_Pin, RESET);
		break;
	case M_STOP:
		__HAL_TIM_SET_COMPARE(&htim14, TIM_CHANNEL_1, 0);
		break;
	case M_ERROR:
		show_err_LED();
		break;
	default:
		break;
	}
}

inline void exti1_cb(void) {
	if (get_od_con_state(OD, 0) == M_RUNNING && get_od_con_stop_by_ph(OD, 0) > 0) {
		set_od_con_state(OD, 0, M_STOP);
	}
}

inline void exti2_cb(void) {
	if (get_od_sq_state(OD, 0) == M_RUNNING) {
		set_od_sq_loc(OD, 0, SQUEEZE_PT);
		set_od_sq_state(OD, 0, M_BRAKE);
//		set_od_sq_ctrl(OD, 0, 0);
	}
}

inline void exti3_cb(void) {
	if (get_od_sq_state(OD, 0) == M_RUNNING) {
		set_od_sq_loc(OD, 0, SQUEEZE_HOME_PT);
		set_od_sq_state(OD, 0, M_STOP);
//		set_od_sq_ctrl(OD, 0, 0);
	}
}

inline void exti4_cb(void) {
	if (get_od_roller_state(OD, 0) == M_RUNNING && get_od_roller_mode(OD, 0) == TRAY) {
		uint8_t curr_step = get_od_dc_curr_step(ROLLER_DC, OD, 0);
		set_od_dc_curr_step(ROLLER_DC, OD, 0, ++curr_step);
	}
}

inline void exti5_cb(void) {
	if (get_od_roller_state(OD, 0) == M_RUNNING && get_od_roller_mode(OD, 0) == ROLLER_HOMING) {
		uint8_t curr_step = get_od_dc_curr_step(ROLLER_DC, OD, 0);
		set_od_dc_curr_step(ROLLER_DC, OD, 0, ++curr_step);
	}
}

inline void exti6_cb(void) {
	if (get_od_pill_gate_state(OD, 0) == M_RUNNING) {
		set_od_pill_gate_loc(OD, 0, PILL_GATE_PT_0);
		set_od_pill_gate_state(OD, 0, M_STOP);
	}
}

inline void exti7_cb(void) {
	if (get_od_pkg_len_state(OD, 0) == M_RUNNING) {
		uint8_t curr_step = get_od_dc_curr_step(PKG_LEN_DC, OD, 0);
		set_od_dc_curr_step(PKG_LEN_DC, OD, 0, ++curr_step);
		set_od_pkg_len_loc(OD, 0, PKG_LEN_PT_0);
	}
}

inline void exti8_cb(void) {
	if (get_od_pkg_len_state(OD, 0) == M_RUNNING) {
		uint8_t curr_step = get_od_dc_curr_step(PKG_LEN_DC, OD, 0);
		set_od_dc_curr_step(PKG_LEN_DC, OD, 0, ++curr_step);
		set_od_pkg_len_loc(OD, 0, PKG_LEN_PT_1);
	}
}

void init_pill_gate_loc(void) {
	if (HAL_GPIO_ReadPin(PH_X6_GPIO_Port, PH_X6_Pin) == GPIO_PIN_RESET)
		set_od_pill_gate_loc(OD, 0, PILL_GATE_PT_0);
}

void init_pkg_len_loc(void) {
	if (HAL_GPIO_ReadPin(PH_X7_GPIO_Port, PH_X7_Pin) == GPIO_PIN_RESET)
		set_od_pkg_len_loc(OD, 0, PKG_LEN_PT_0);
	else if (HAL_GPIO_ReadPin(PH_X8_GPIO_Port, PH_X8_Pin) == GPIO_PIN_RESET)
		set_od_pkg_len_loc(OD, 0, PKG_LEN_PT_1);
}

void init_sq_loc(void) {
	if (HAL_GPIO_ReadPin(PH_X2_GPIO_Port, PH_X2_Pin) == GPIO_PIN_RESET)
		set_od_sq_loc(OD, 0, SQUEEZE_PT);
	else if (HAL_GPIO_ReadPin(PH_X3_GPIO_Port, PH_X3_Pin) == GPIO_PIN_RESET)
		set_od_sq_loc(OD, 0, SQUEEZE_HOME_PT);
}

void control_valve(uint16_t ctrl_index, GPIO_TypeDef *port, uint16_t pin) {
	uint8_t valve_control = 0;

	if (OD_get_u8(OD_find(OD, ctrl_index), 0x00, &valve_control, false) != ODR_OK) {
		show_err_LED();
	}

	HAL_GPIO_WritePin(port, pin, !valve_control);
}

inline float get_temperature(uint16_t adc_value) {
	float val = ((3.3f * (float) adc_value / 4096.0f) - 1.25f) / 0.005f;

	return val > 0.0f ? val : 0.0f;
}

inline void show_err_LED(void) {
	HAL_GPIO_WritePin(LED_4_GPIO_Port, LED_4_Pin, GPIO_PIN_RESET);
}

void set_pid_config(void) {
	uint16_t target_temp, K_p, K_i, K_d;

	if (OD_get_u16(OD_find(OD, 0x6000), 0x00, &target_temp, false) != ODR_OK)
		show_err_LED();
	if (OD_get_u16(OD_find(OD, 0x6004), 0x00, &K_p, false) != ODR_OK)
		show_err_LED();
	if (OD_get_u16(OD_find(OD, 0x6005), 0x00, &K_i, false) != ODR_OK)
		show_err_LED();
	if (OD_get_u16(OD_find(OD, 0x6006), 0x00, &K_d, false) != ODR_OK)
		show_err_LED();

	temp_set_pt = (float) target_temp;

	PID(&TPID, &temp, &PID_out, &temp_set_pt, (float) K_p, (float) K_i, (float) K_d, _PID_P_ON_E, _PID_CD_DIRECT);
	PID_SetMode(&TPID, _PID_MODE_AUTOMATIC);
	PID_SetSampleTime(&TPID, SAMPLE_TIME);
	PID_SetOutputLimits(&TPID, LOW_LIMIT, HIGH_LIMIT);
}

void delay_ms(uint32_t ms) {
	volatile uint32_t count = 0;
	for (count = 0; count < ms * 1000; count++) {
		__asm("NOP");
	}
}

/* USER CODE END 4 */

void Error_Handler(void)
{
	__disable_irq();
	while (1) {
	}
}
